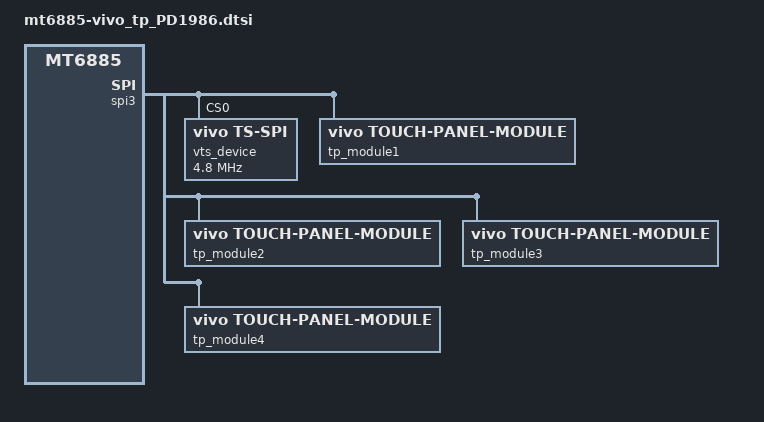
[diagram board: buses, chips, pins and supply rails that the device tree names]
/*touchscreen relative config for PD1986*/

&pio {
	spi_cs_set_cfg:spi_cs_set {
		pins_cmd_dat {
			pinmux = <PINMUX_GPIO144__FUNC_SPI3_CSB>;
			drive-strength = <4>;
		};
	};
	spi_cs_pulllow_cfg:spi_cs_pulllow {
		pins_cmd_dat {
			pinmux = <PINMUX_GPIO144__FUNC_GPIO144>;
			slew-rate = <1>;
			output-low;
		};
	};

	spi_miso_set_cfg:spi_miso_set {
		pins_cmd_dat {
			pinmux = <PINMUX_GPIO145__FUNC_SPI3_MI>;
			bias-disable;
		};
	};
	spi_miso_pulllow_cfg:spi_miso_pulllow {
		pins_cmd_dat {
			pinmux = <PINMUX_GPIO145__FUNC_SPI3_MI>;
			bias-pull-down;
		};
	};
};

&spi3 {
	status = "okay";
	mediatek,kthread-rt = <1>;

	vts_device@0 {
		compatible = "vivo,ts-spi";
		status = "okay";
		reg=<0>;
		spi-max-frequency = <4800000>;

		
		nt36672 {
			compatible = "novatek,NVT-ts-spi-v2";
			status = "ok";

			vts-type=<0>;
			vts-ic-number=<81>;
			mtk,vts-vddi-poweroff;
			novatek,4power;
			spi-max-frequency = <9600000>;	//4800000,9600000,15000000,19200000
			//novatek,reset-gpio = <&pio 138 0x00>;
			novatek,irq-gpio = <&pio 21 0x00>;
			//novatek,cs-gpio = <&pio 144 0x00>;

			sensor-test-key="com.nttouchscreen.mptest:MainActivity:android.intent.action.novatek:0:testResult";
			lcm-noise-test-key="com.nt36xxxtouchscreen.deltadiff:MainActivity:null:null:null";
			rawdata-test-key="com.nttouchscreen.getdata:MainActivity:null:null:null";
			rf-noise-test-key="com.nt36xxxtouchscreen.deltadiff:BspTest:android.intent.action.nvtdeltadiff:0:testResult";

			//clock-names = "iface_clk", "core_clk";
			//clocks = <&clock_gcc clk_gcc_blsp1_ahb_clk>,
			//	<&clock_gcc clk_gcc_blsp1_qup1_spi_apps_clk>;
			pinctrl-names = "spi_cs_set", "spi_cs_pulllow", "spi_miso_set", "spi_miso_pulllow";
			pinctrl-0 = <&spi_cs_set_cfg>;
			pinctrl-1 = <&spi_cs_pulllow_cfg>;
			pinctrl-2 = <&spi_miso_set_cfg>;
			pinctrl-3 = <&spi_miso_pulllow_cfg>;
			/* 672 */
			//novatek,swrst-n8-addr = <0x01F01A>;

			/* 672A */
			novatek,swrst-n8-addr = <0x03F0FE>;

			/* MP */
			//novatek,mp-support-dt;

			novatek-mp-criteria-nvtpid@0 {
				#address-cells = <1>;
				#size-cells = <0>;
				compatible = "novatek-mp-criteria-nvtpid";

				/* MP Config */
				IC_X_CFG_SIZE = <18>;
				IC_Y_CFG_SIZE = <32>;
				IC_KEY_CFG_SIZE = <4>;
				X_Channel = <18>;
				Y_Channel = <32>;
				AIN_X = <17 16 15 14 13 12 11 10 9 8 7 6 5 4 3 2 1 0>;
				AIN_Y = <31 30 29 28 27 26 25 24 23 22 21 20 19 18 17 16 15
									14 13 12 11 10 9 8 7 6 5 4 3 2 1 0>;
				AIN_KEY = <0 1 2 0xFF>;

				PS_Config_Diff_Test_Frame = <50>;
			};
		};
	};

	tp_module1 {
		compatible = "vivo,touch-panel-module";
		vts-ic-number=<81>;
		vts-type=<0>;
		vts-lcmid=<17>;
		vts-dimention-x=<1080>;
		vts-dimention-y=<2408>;
		vts-tx-sensors=<16>;
		vts-rx-sensors=<36>;
		vts-incell=<1>;
		vts-need-caliberation=<0>;
		vts-virtual-proximinity=<0>;
		vts-long-press=<0>;
		vts-module-vendor=<0xF0>;
		vts-no-flash=<1>;
		vts-game-mode=<1>;
		vts-game-idle-time=<10>;
		vts-report-timestamp=<1>;
	};

	tp_module2 {
		compatible = "vivo,touch-panel-module";
		vts-ic-number=<81>;
		vts-type=<0>;
		vts-lcmid=<1>;
		vts-dimention-x=<1080>;
		vts-dimention-y=<2408>;
		vts-tx-sensors=<16>;
		vts-rx-sensors=<36>;
		vts-incell=<1>;
		vts-need-caliberation=<0>;
		vts-virtual-proximinity=<0>;
		vts-long-press=<0>;
		vts-module-vendor=<0x70>;
		vts-no-flash=<1>;
		vts-game-mode=<1>;
		vts-game-idle-time=<10>;
		vts-report-timestamp=<1>;
	};

	tp_module3 {
		compatible = "vivo,touch-panel-module";
		vts-ic-number=<81>;
		vts-type=<0>;
		vts-lcmid=<18>;
		vts-dimention-x=<1080>;
		vts-dimention-y=<2408>;
		vts-tx-sensors=<16>;
		vts-rx-sensors=<36>;
		vts-incell=<1>;
		vts-need-caliberation=<0>;
		vts-virtual-proximinity=<0>;
		vts-long-press=<0>;
		vts-module-vendor=<0xF0>;
		vts-no-flash=<1>;
		vts-game-mode=<1>;
		vts-game-idle-time=<10>;
		vts-report-timestamp=<1>;
	};

	tp_module4 {
		compatible = "vivo,touch-panel-module";
		vts-ic-number=<81>;
		vts-type=<0>;
		vts-lcmid=<2>;
		vts-dimention-x=<1080>;
		vts-dimention-y=<2408>;
		vts-tx-sensors=<16>;
		vts-rx-sensors=<36>;
		vts-incell=<1>;
		vts-need-caliberation=<0>;
		vts-virtual-proximinity=<0>;
		vts-long-press=<0>;
		vts-module-vendor=<0x70>;
		vts-no-flash=<1>;
		vts-game-mode=<1>;
		vts-game-idle-time=<10>;
		vts-report-timestamp=<1>;
	};
};
